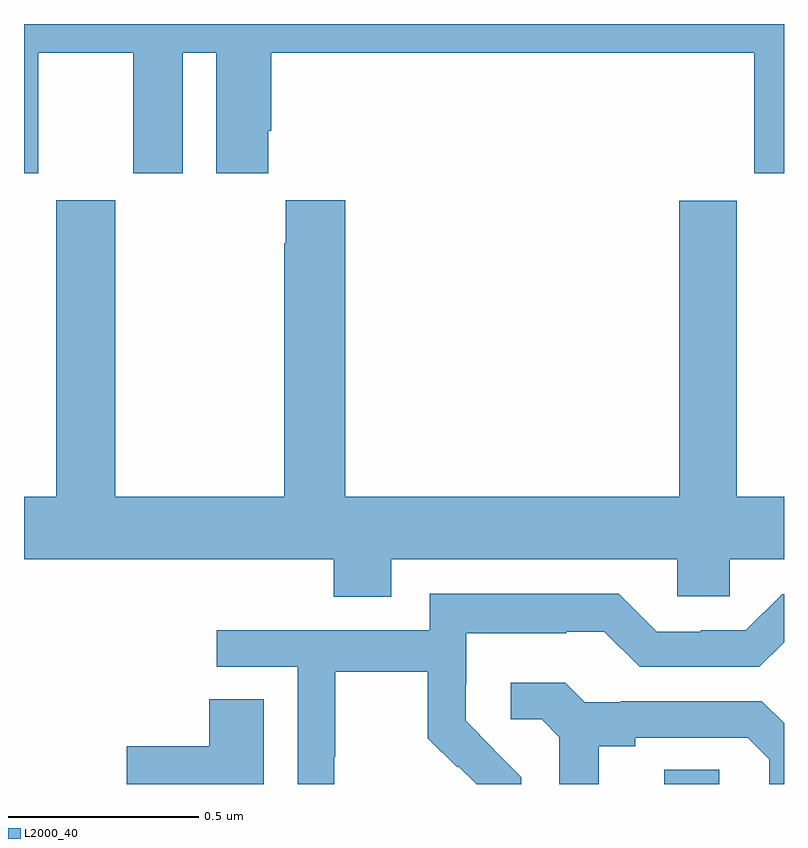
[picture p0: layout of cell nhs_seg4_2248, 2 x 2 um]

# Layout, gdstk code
import gdstk
lib = gdstk.Library(unit=1e-6, precision=1e-09)
def R(c, l, rs):  # rectangles x0, y0, x1, y1
    for r in rs: c.add(gdstk.rectangle(r[:2], r[2:], *l))
def P(c, l, *ps):  # polygons
    for p in ps: c.add(gdstk.Polygon(p, *l))
L2000_40 = (2000, 40)

nhs_seg4_2248 = lib.new_cell('nhs_seg4_2248')
R(nhs_seg4_2248, L2000_40, [(139.685,790.9,139.83,790.937)])
P(nhs_seg4_2248, L2000_40, [(138,792.507),(138.037,792.507),(138.037,792.824),(138.287,792.824),(138.287,792.507),(138.418,792.507),(138.418,792.824),(138.506,792.824),(138.506,792.507),(138.643,792.507),(138.643,792.619),(138.65,792.619),(138.65,792.824),(139.922,792.824),(139.922,792.507),(140,792.507),(140,792.9),(138,792.9)],
  [(139.724,791.656),(138.845,791.656),(138.845,792.436),(138.689,792.436),(138.689,792.323),(138.685,792.323),(138.685,791.656),(138.24,791.656),(138.24,792.436),(138.085,792.436),(138.085,791.656),(138,791.656),(138,791.492),(138.815,791.492),(138.815,791.393),(138.967,791.393),(138.967,791.492),(139.719,791.492),(139.719,791.394),(139.857,791.394),(139.857,791.492),(140,791.492),(140,791.656),(139.876,791.656),(139.876,792.435),(139.724,792.435)],
  [(138.816,790.972),(138.819,790.972),(138.819,791.196),(139.063,791.196),(139.063,791.021),(139.14,790.944),(139.143,790.947),(139.191,790.9),(139.308,790.9),(139.308,790.918),(139.235,790.991),(139.236,790.992),(139.162,791.066),(139.162,791.163),(139.164,791.163),(139.164,791.297),(139.427,791.297),(139.427,791.301),(139.527,791.301),(139.62,791.208),(139.935,791.208),(140,791.273),(140,791.4),(139.995,791.4),(139.899,791.304),(139.781,791.304),(139.781,791.301),(139.665,791.301),(139.565,791.401),(139.068,791.401),(139.068,791.304),(138.507,791.304),(138.507,791.208),(138.72,791.208),(138.72,790.9),(138.816,790.9)],
  [(139.513,791),(139.609,791),(139.609,791.022),(139.904,791.022),(139.961,790.965),(139.961,790.9),(140,790.9),(140,791.06),(139.942,791.118),(139.57,791.118),(139.57,791.115),(139.476,791.115),(139.424,791.167),(139.281,791.167),(139.281,791.07),(139.362,791.07),(139.409,791.023),(139.409,790.9),(139.513,790.9)],
  [(138.631,791.123),(138.488,791.123),(138.488,791),(138.27,791),(138.27,790.9),(138.631,790.9)])

lib.write_gds('nhs_seg4_2248.gds')
